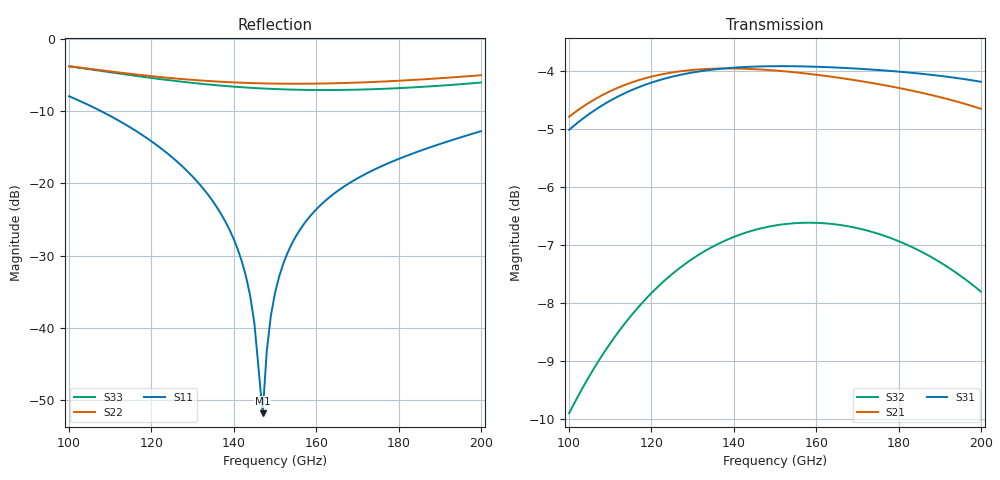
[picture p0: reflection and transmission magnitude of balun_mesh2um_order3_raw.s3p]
#  GHZ S DB R 50.0
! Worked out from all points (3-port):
!   101 points, 100 GHz to 200 GHz, reference 50 ohm
!   strongest paths, dB at 100 GHz, 125 GHz, 150 GHz, 175 GHz, 200 GHz:
!     S31: -5.0, -4.1, -3.9, -4.0, -4.2
!     S21: -4.8, -4.0, -4.0, -4.2, -4.7
!     S32: -9.9, -7.5, -6.7, -6.8, -7.8
!   lowest |S11| = -51.8 dB at 147 GHz (marker M1), VSWR 1.01, Z = 50.2 - j0.18 ohm
!   |S11| at or under -10 dB: 107.7 GHz to end of sweep
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100  -7.96 125.0  -4.79 -12.5  -5.02 164.0
     -4.79 -12.5  -3.79 59.0  -9.90 90.0
     -5.02 164.0  -9.90 90.0  -3.82 49.5
123  -15.46 91.5  -4.05 -47.5  -4.14 127.0
     -4.05 -47.5  -5.34 39.4  -7.63 56.3
     -4.14 127.0  -7.63 56.3  -5.64 26.9
137  -24.33 74.3  -3.96 -66.7  -3.96 106.7
     -3.96 -66.7  -5.95 29.6  -6.96 37.5
     -3.96 106.7  -6.96 37.5  -6.49 15.8
144  -35.64 61.5  -3.97 -75.8  -3.93 97.0
     -3.97 -75.8  -6.12 24.9  -6.76 28.5
     -3.93 97.0  -6.76 28.5  -6.78 10.7
147  -51.80 -44.3  -3.98 -79.7  -3.92 92.9
     -3.98 -79.7  -6.17 22.9  -6.71 24.7
     -3.92 92.9  -6.71 24.7  -6.88 8.6
148  -43.21 -93.4  -3.98 -80.9  -3.92 91.6
     -3.98 -80.9  -6.18 22.2  -6.69 23.4
     -3.92 91.6  -6.69 23.4  -6.91 7.9
150  -35.17 -107.4  -3.99 -83.5  -3.92 88.9
     -3.99 -83.5  -6.20 20.9  -6.67 20.9
     -3.92 88.9  -6.67 20.9  -6.96 6.5
155  -27.39 -116.0  -4.03 -89.7  -3.92 82.3
     -4.03 -89.7  -6.22 17.4  -6.62 14.8
     -3.92 82.3  -6.62 14.8  -7.05 2.9
164  -21.57 -123.9  -4.10 -100.7  -3.94 70.6
     -4.10 -100.7  -6.16 10.9  -6.64 3.9
     -3.94 70.6  -6.64 3.9  -7.09 -3.6
200  -12.79 -146.3  -4.65 -144.3  -4.19 24.5
     -4.65 -144.3  -5.05 -19.9  -7.80 -39.4
     -4.19 24.5  -7.80 -39.4  -6.06 -34.0
